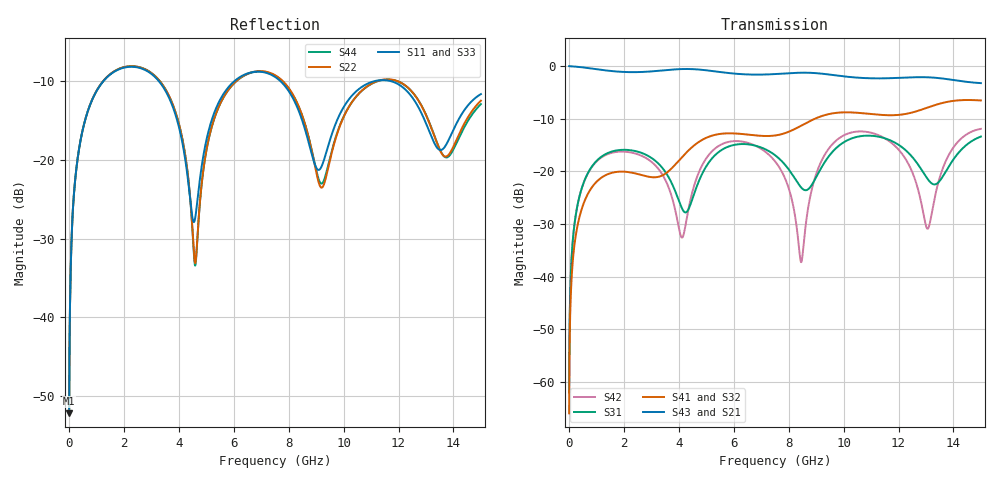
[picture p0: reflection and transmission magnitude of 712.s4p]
! Created with skrf 1.8.0 (http://scikit-rf.org).
# GHz S RI R 50.0
!freq ReS11 ImS11 ReS12 ImS12 ReS13 ImS13
! ReS14 ImS14
! ReS21 ImS21 ReS22 ImS22 ReS23 ImS23
! ReS24 ImS24
! ReS31 ImS31 ReS32 ImS32 ReS33 ImS33
! ReS34 ImS34
! ReS41 ImS41 ReS42 ImS42 ReS43 ImS43
! ReS44 ImS44
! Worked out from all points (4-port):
!   2499 points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, 5 MHz to 15 GHz, reference 50 ohm
!   strongest paths, dB at 5 MHz, 3.476 GHz, 7.19 GHz, 11.1 GHz, 15 GHz:
!     S43: 0.0, -0.8, -1.6, -2.3, -3.2
!     S21: 0.0, -0.8, -1.6, -2.3, -3.2
!     S41: -66.0, -20.6, -13.3, -9.2, -6.5
!     S32: -66.0, -20.6, -13.4, -9.2, -6.6
!     S31: -62.0, -19.9, -15.9, -13.3, -13.4
!     S42: -62.0, -21.3, -16.5, -12.8, -11.9
!   lowest |S11| = -52.2 dB at 5 MHz (marker M1), VSWR 1.00, Z = 50.2 + j0.149 ohm
!   |S11| at or under -10 dB: 3.278 GHz to 6.016 GHz (2.738 GHz wide, 58.9 % of centre); 7.706 GHz to 11.1 GHz (3.395 GHz wide, 36.1 % of centre); 11.74 GHz to end of sweep (the widest 3 of 4)
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0.005  0.00196 0.00149  0.998 -0.00381  9.99e-05 0.000784  -9.68e-05 -0.000491
       0.998 -0.00381  0.00196 0.00149  -9.68e-05 -0.000491  9.97e-05 0.000785
       9.99e-05 0.000784  -9.68e-05 -0.000491  0.00196 0.00149  0.998 -0.00381
       -9.68e-05 -0.000491  9.97e-05 0.000785  0.998 -0.00381  0.00196 0.00149
0.3126303  0.0325 0.0961  0.9553 -0.2354  0.0159 0.0453  -0.0128 -0.0278
           0.9553 -0.2354  0.0327 0.0961  -0.0128 -0.0278  0.0149 0.0456
           0.0159 0.0453  -0.0128 -0.0278  0.0325 0.0961  0.9553 -0.2354
           -0.0128 -0.0278  0.0149 0.0456  0.9553 -0.2354  0.0327 0.0961
1.3193  0.2746 0.1766  0.5367 -0.7357  0.1348 0.0535  -0.0914 -0.00419
        0.5367 -0.7357  0.2778 0.1744  -0.0913 -0.00431  0.1255 0.0665
        0.1348 0.0535  -0.0913 -0.00431  0.2746 0.1765  0.5368 -0.7356
        -0.0914 -0.00419  0.1255 0.0665  0.5368 -0.7356  0.2777 0.1745
4.445602  0.0414 -0.0285  -0.9249 -0.1474  -0.0357 0.0352  -0.0224 0.1648
          -0.9249 -0.1474  0.0239 -0.0429  -0.0244 0.1645  0.0268 0.05
          -0.0357 0.0352  -0.0244 0.1645  0.0417 -0.0279  -0.925 -0.1474
          -0.0224 0.1648  0.0268 0.05  -0.925 -0.1474  0.0233 -0.0425
9.185077  0.0891 0.0129  0.8404 0.1139  -0.0281 0.1038  0.0316 -0.3321
          0.8404 0.1139  0.066 -0.0102  0.0404 -0.3316  0.0264 0.1212
          -0.0281 0.1038  0.0404 -0.3316  0.0838 0.015  0.8405 0.1146
          0.0316 -0.3321  0.0264 0.1212  0.8405 0.1146  0.0703 -0.009
12.03627  0.2881 -0.0826  -0.0922 -0.7679  0.098 -0.1464  -0.329 0.1015
          -0.0922 -0.7679  0.3031 -0.0791  -0.331 0.0896  0.1109 -0.1112
          0.098 -0.1464  -0.331 0.0896  0.2907 -0.0823  -0.0897 -0.768
          -0.329 0.1015  0.1109 -0.1112  -0.0897 -0.768  0.3024 -0.0782
15  0.2547 0.0627  -0.5868 0.3591  0.2001 0.0754  0.3165 0.3495
    -0.5868 0.3591  0.2261 0.0752  0.3011 0.3579  0.2335 0.0975
    0.2001 0.0754  0.3011 0.3579  0.261 0.0606  -0.5901 0.3553
    0.3165 0.3495  0.2335 0.0975  -0.5901 0.3553  0.2139 0.0749
